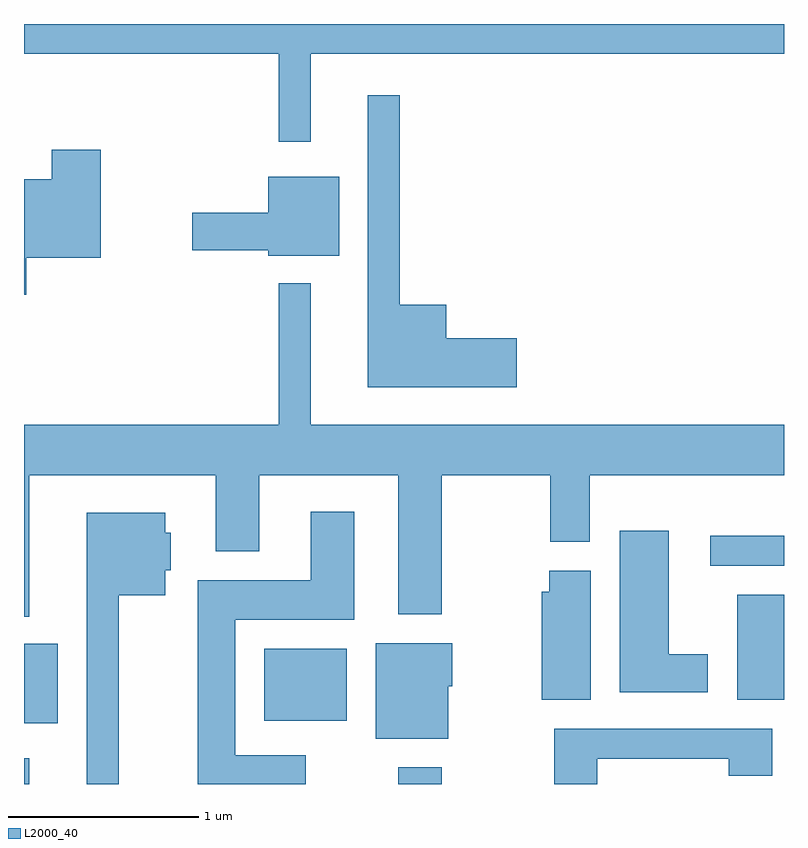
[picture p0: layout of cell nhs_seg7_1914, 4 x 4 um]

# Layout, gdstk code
import gdstk
lib = gdstk.Library(unit=1e-6, precision=1e-09)
def R(c, l, rs):  # rectangles x0, y0, x1, y1
    for r in rs: c.add(gdstk.rectangle(r[:2], r[2:], *l))
def P(c, l, *ps):  # polygons
    for p in ps: c.add(gdstk.Polygon(p, *l))
L2000_40 = (2000, 40)

nhs_seg7_1914 = lib.new_cell('nhs_seg7_1914')
R(nhs_seg7_1914, L2000_40, [(243.611,1708.252,243.639,1708.388), (245.581,1708.252,245.809,1708.339), (243.611,1708.571,243.789,1708.989), (244.876,1708.586,245.309,1708.964), (247.366,1708.696,247.611,1709.249), (247.223,1709.401,247.611,1709.559)])
P(nhs_seg7_1914, L2000_40, [(245.119,1712.096),(247.611,1712.096),(247.611,1712.252),(243.611,1712.252),(243.611,1712.096),(244.951,1712.096),(244.951,1711.633),(245.119,1711.633)],
  [(246.204,1710.599),(245.834,1710.599),(245.834,1710.774),(245.589,1710.774),(245.589,1711.878),(245.421,1711.878),(245.421,1710.341),(246.204,1710.341)],
  [(243.624,1711.021),(244.014,1711.021),(244.014,1711.589),(243.756,1711.589),(243.756,1711.434),(243.611,1711.434),(243.611,1710.826),(243.624,1710.826)],
  [(245.269,1711.449),(244.896,1711.449),(244.896,1711.259),(244.496,1711.259),(244.496,1711.061),(244.896,1711.061),(244.896,1711.031),(245.269,1711.031)],
  [(243.639,1709.876),(244.621,1709.876),(244.621,1709.476),(244.849,1709.476),(244.849,1709.876),(245.581,1709.876),(245.581,1709.146),(245.809,1709.146),(245.809,1709.876),(246.381,1709.876),(246.381,1709.526),(246.589,1709.526),(246.589,1709.876),(247.611,1709.876),(247.611,1710.144),(245.119,1710.144),(245.119,1710.888),(244.951,1710.888),(244.951,1710.144),(243.611,1710.144),(243.611,1709.133),(243.639,1709.133)],
  [(245.094,1708.404),(244.724,1708.404),(244.724,1709.116),(245.349,1709.116),(245.349,1709.684),(245.121,1709.684),(245.121,1709.324),(244.526,1709.324),(244.526,1708.252),(245.094,1708.252)],
  [(244.109,1709.246),(244.354,1709.246),(244.354,1709.376),(244.384,1709.376),(244.384,1709.574),(244.354,1709.574),(244.354,1709.679),(243.941,1709.679),(243.941,1708.252),(244.109,1708.252)],
  [(247.209,1708.934),(247.004,1708.934),(247.004,1709.584),(246.746,1709.584),(246.746,1708.736),(247.209,1708.736)],
  [(246.594,1709.374),(246.376,1709.374),(246.376,1709.264),(246.336,1709.264),(246.336,1708.696),(246.594,1708.696)],
  [(245.844,1708.766),(245.864,1708.766),(245.864,1708.994),(245.461,1708.994),(245.461,1708.491),(245.844,1708.491)],
  [(246.629,1708.386),(247.321,1708.386),(247.321,1708.296),(247.549,1708.296),(247.549,1708.544),(246.401,1708.544),(246.401,1708.252),(246.629,1708.252)])

lib.write_gds('nhs_seg7_1914.gds')
